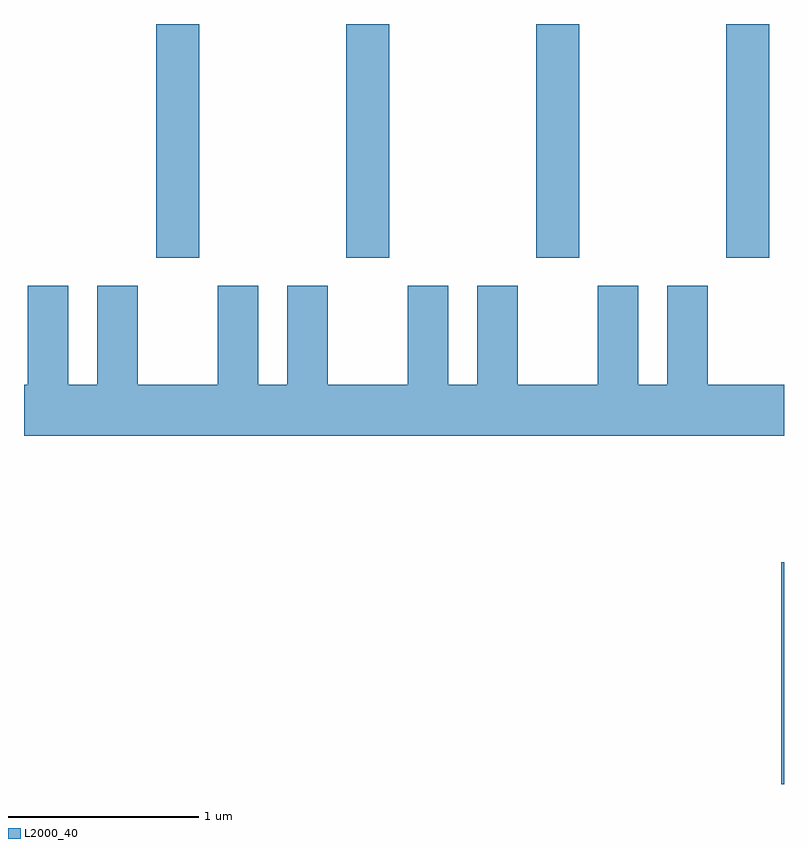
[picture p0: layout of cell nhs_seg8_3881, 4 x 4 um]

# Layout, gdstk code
import gdstk
lib = gdstk.Library(unit=1e-6, precision=1e-09)
def R(c, l, rs):  # rectangles x0, y0, x1, y1
    for r in rs: c.add(gdstk.rectangle(r[:2], r[2:], *l))
def A(c, l, x, y, w, h, nx, ny, dx, dy):  # array of equal rectangles
    R(c, l, [(x+i*dx, y+j*dy, x+i*dx+w, y+j*dy+h) for i in range(nx) for j in range(ny)])
def P(c, l, *ps):  # polygons
    for p in ps: c.add(gdstk.Polygon(p, *l))
L2000_40 = (2000, 40)

nhs_seg8_3881 = lib.new_cell('nhs_seg8_3881')
A(nhs_seg8_3881, L2000_40, 302.306, 1855.111, 0.228, 1.231, 4, 1, 1, 0)
R(nhs_seg8_3881, L2000_40, [(305.596,1852.342,305.611,1853.509)])
P(nhs_seg8_3881, L2000_40, [(305.611,1854.444),(305.209,1854.444),(305.209,1854.964),(304.996,1854.964),(304.996,1854.444),(304.844,1854.444),(304.844,1854.964),(304.631,1854.964),(304.631,1854.444),(304.209,1854.444),(304.209,1854.964),(303.996,1854.964),(303.996,1854.444),(303.844,1854.444),(303.844,1854.964),(303.631,1854.964),(303.631,1854.444),(303.209,1854.444),(303.209,1854.964),(302.996,1854.964),(302.996,1854.444),(302.844,1854.444),(302.844,1854.964),(302.631,1854.964),(302.631,1854.444),(302.209,1854.444),(302.209,1854.964),(301.996,1854.964),(301.996,1854.444),(301.844,1854.444),(301.844,1854.964),(301.631,1854.964),(301.631,1854.444),(301.611,1854.444),(301.611,1854.176),(305.611,1854.176)])

lib.write_gds('nhs_seg8_3881.gds')
